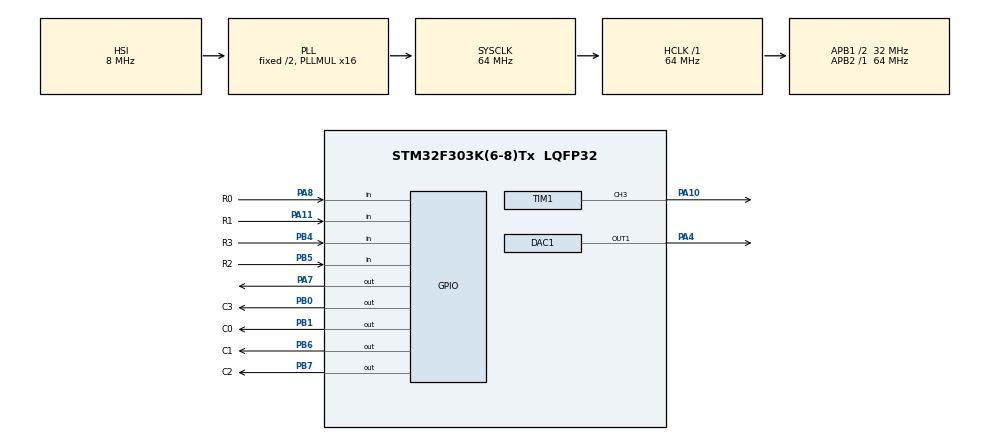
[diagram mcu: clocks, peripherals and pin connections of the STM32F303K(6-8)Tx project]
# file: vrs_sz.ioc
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DAC1.DAC_Trigger=DAC_TRIGGER_T3_TRGO
Dma.DAC1_CH1.1.Direction=DMA_MEMORY_TO_PERIPH
Dma.DAC1_CH1.1.Instance=DMA1_Channel3
Dma.DAC1_CH1.1.MemDataAlignment=DMA_MDATAALIGN_BYTE
Dma.DAC1_CH1.1.MemInc=DMA_MINC_ENABLE
Dma.DAC1_CH1.1.Mode=DMA_CIRCULAR
Dma.DAC1_CH1.1.PeriphDataAlignment=DMA_PDATAALIGN_BYTE
Dma.DAC1_CH1.1.PeriphInc=DMA_PINC_DISABLE
Dma.DAC1_CH1.1.Priority=DMA_PRIORITY_VERY_HIGH
Dma.Request0=TIM1_CH3
Dma.Request1=DAC1_CH1
Dma.TIM1_CH3.0.Direction=DMA_MEMORY_TO_PERIPH
Dma.TIM1_CH3.0.Instance=DMA1_Channel6
Dma.TIM1_CH3.0.MemDataAlignment=DMA_MDATAALIGN_HALFWORD
Dma.TIM1_CH3.0.MemInc=DMA_MINC_ENABLE
Dma.TIM1_CH3.0.Mode=DMA_NORMAL
Dma.TIM1_CH3.0.PeriphDataAlignment=DMA_PDATAALIGN_HALFWORD
Dma.TIM1_CH3.0.PeriphInc=DMA_PINC_DISABLE
Dma.TIM1_CH3.0.Priority=DMA_PRIORITY_LOW
Mcu.Family=STM32F3
Mcu.Name=STM32F303K(6-8)Tx
Mcu.Package=LQFP32
NVIC.DMA1_Channel3_IRQn=true\:0\:0\:false\:false\:true\:false\:true\:true
NVIC.DMA1_Channel6_IRQn=true\:0\:0\:false\:false\:true\:false\:true\:true
NVIC.PriorityGroup=NVIC_PRIORITYGROUP_4
NVIC.TIM3_IRQn=true\:0\:0\:false\:false\:true\:true\:true\:true
PA10.Signal=S_TIM1_CH3
PA11.GPIO_Label=R1
PA11.GPIO_PuPd=GPIO_PULLDOWN
PA11.Signal=GPIO_Input
PA4.Signal=COMP_DAC11_group
PA7.Signal=GPIO_Output
PA8.GPIO_Label=R0
PA8.GPIO_PuPd=GPIO_PULLDOWN
PA8.Signal=GPIO_Input
PB0.GPIO_Label=C3
PB0.GPIO_PuPd=GPIO_NOPULL
PB0.Signal=GPIO_Output
PB1.GPIO_Label=C0
PB1.GPIO_PuPd=GPIO_NOPULL
PB1.Signal=GPIO_Output
PB4.GPIO_Label=R3
PB4.GPIO_PuPd=GPIO_PULLDOWN
PB4.Signal=GPIO_Input
PB5.GPIO_Label=R2
PB5.GPIO_PuPd=GPIO_PULLDOWN
PB5.Signal=GPIO_Input
PB6.GPIO_Label=C1
PB6.Signal=GPIO_Output
PB7.GPIO_Label=C2
PB7.Signal=GPIO_Output
ProjectManager.HeapSize=0x200
ProjectManager.StackSize=0x400
ProjectManager.TargetToolchain=STM32CubeIDE
RCC.AHBFreq_Value=64000000
RCC.APB1CLKDivider=RCC_HCLK_DIV2
RCC.APB1Freq_Value=32000000
RCC.APB1TimFreq_Value=64000000
RCC.APB2Freq_Value=64000000
RCC.APB2TimFreq_Value=64000000
RCC.CortexFreq_Value=64000000
RCC.HCLKFreq_Value=64000000
RCC.HSE_VALUE=8000000
RCC.HSI_VALUE=8000000
RCC.PLLMUL=RCC_PLL_MUL16
RCC.SYSCLKFreq_VALUE=64000000
RCC.SYSCLKSourceVirtual=RCC_SYSCLKSOURCE_PLLCLK
SH.COMP_DAC11_group.0=DAC1_OUT1,DAC_OUT1
SH.S_TIM1_CH3.0=TIM1_CH3,PWM Generation3 CH3
TIM1.Channel-PWM\ Generation3\ CH3=TIM_CHANNEL_3
TIM1.Period=80-1
TIM1.Pulse-PWM\ Generation3\ CH3=1
TIM3.ClockDivision=TIM_CLOCKDIVISION_DIV4
TIM3.Period=250-1
TIM3.Prescaler=32-1
TIM3.TIM_MasterOutputTrigger=TIM_TRGO_UPDATE
VP_TIM1_VS_ClockSourceINT.Mode=Internal
VP_TIM3_VS_ClockSourceINT.Mode=Internal
board=custom

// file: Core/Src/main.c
/* USER CODE BEGIN Header */
/**
  ******************************************************************************
  * @file           : main.c
  * @brief          : Main program body
  ******************************************************************************
  * @attention
  *
  * Copyright (c) 2022 STMicroelectronics.
  * All rights reserved.
  *
  * This software is licensed under terms that can be found in the LICENSE file
  * in the root directory of this software component.
  * If no LICENSE file comes with this software, it is provided AS-IS.
  *
  ******************************************************************************
  */
/* USER CODE END Header */
#include "main.h"
#include "dac.h"
#include "dma.h"
#include "tim.h"
#include "gpio.h"

/* USER CODE BEGIN Includes */
#include "keyboard.h"
#include "ledlight.h"
#include "colors.h"
#include "musiclightdriver.h"
#include "tone.h"
#include "notes.h"
#include "time.h"
/* USER CODE END Includes */

/* USER CODE BEGIN PV */
uint8_t pressedKey;
uint8_t flagKeyboard;
uint8_t keyboardStatus[16] = {0};
uint8_t keyboardStatus_old[16] = {0};
uint8_t octave = 3;

Color ledLight[NUMBER_OF_LEDS] = {0};
uint8_t tones[] = {NONE,NONE,NONE,NONE};
double freqs[] = {0,0,0,0};
/* USER CODE END PV */

void SystemClock_Config(void);
/* USER CODE BEGIN PFP */
uint8_t didChange() {
	int flag = 0;
	for (int i = 0; i<16;i++) {
		if (keyboardStatus[i]!=keyboardStatus_old[i]) {
			flag = 1;
			keyboardStatus_old[i]=keyboardStatus[i];
		}
	}
	if (flag)
		return 1;
	else
		return 0;
}

uint8_t isPressed(uint8_t startIndex, uint8_t endIndex) {
	for (uint8_t i=startIndex; i<endIndex; i++) {
		if (keyboardStatus[i]) {
			return 1;
		}
	}
	return 0;
}

void resetTonesAndFreqs(uint8_t index) {
	tones[index] = NONE;
	freqs[index] = 0;
}

void playLowerOctave() {
	for (uint8_t i=1; i<8; i++) {
		if (keyboardStatus[i]) {
			tones[0] =SQUARE;
			freqs[0] = notes3[i-1];
			setMainToneColor(ledLight, mainColors[7-i]);
			setBeatColor(ledLight, mainColors[i-1]);
			setBackingTrackColor(ledLight, mainColors[i]);
		}
	}
}

void playUpperOctave(uint8_t octave) {
	switch (octave) {
		case 4:
			for (uint8_t i=8; i<16; i++) {
				if (keyboardStatus[i]) {
					tones[1] = SINE;
					freqs[1] = notes4[i-8];
					setMainToneColor(ledLight, mainColors[i-8]);
					setBeatColor(ledLight, mainColors[i]);
					setBackingTrackColor(ledLight, mainColors[8-i]);
				}
			}
			break;
		case 5:
			for (uint8_t i=8; i<16; i++) {
				if (keyboardStatus[i]) {
					tones[1] = SINE;
					freqs[1] = notes5[i-8];
					setMainToneColor(ledLight, mainColors[i-8]);
					setBeatColor(ledLight, mainColors[i]);
					setBackingTrackColor(ledLight, mainColors[8-i]);
				}
			}
			break;
	}
}

uint8_t processOctave(uint8_t octave) {
	uint8_t lowerOctave = isPressed(1, 8);
	uint8_t upperOctave = isPressed(8, 16);
	uint8_t pressed = lowerOctave + upperOctave;

	if (lowerOctave) {
		playLowerOctave();
	} else {
		resetTonesAndFreqs(0);
	}

	if (upperOctave) {
		playUpperOctave(octave);
	} else {
		resetTonesAndFreqs(1);
	}

	return pressed;
}

void setOctave(uint8_t octave) {
	uint8_t pressed = processOctave(octave);

	if (pressed == 0) {
		setMainToneColor(ledLight, OFF);
		setBeatColor(ledLight, OFF);
		setBackingTrackColor(ledLight, OFF);
	}
	sendLedData(ledLight);
	updateMultipleTone(tones, freqs);
}
/* USER CODE END PFP */

int main(void)
{

  /* MCU Configuration--------------------------------------------------------*/

  /* Reset of all peripherals, Initializes the Flash interface and the Systick. */
  HAL_Init();

  /* Configure the system clock */
  SystemClock_Config();

  /* Initialize all configured peripherals */
  MX_GPIO_Init();
  MX_DMA_Init();
  MX_TIM1_Init();
  MX_DAC1_Init();
  MX_TIM3_Init();
  /* USER CODE BEGIN 2 */

  //initialLedReset(ledLight);
  //setBrightness(45);

  //
  srand((unsigned) time(NULL));
  initToneSystem();
  /* USER CODE END 2 */

  /* Infinite loop */
  /* USER CODE BEGIN WHILE */
  while (1)
  {
	KB_Detect_KeyPress();

    if (didChange()) {
		if (keyboardStatus[0]) {
			octave = 5;
			setOctave(octave);

		} else {
			octave = 4;
			setOctave(octave);
		}
    }
    /* USER CODE END WHILE */

  }
}

void SystemClock_Config(void)
{
  RCC_OscInitTypeDef RCC_OscInitStruct = {0};
  RCC_ClkInitTypeDef RCC_ClkInitStruct = {0};
  RCC_PeriphCLKInitTypeDef PeriphClkInit = {0};

  /** Initializes the RCC Oscillators according to the specified parameters
  * in the RCC_OscInitTypeDef structure.
  */
  RCC_OscInitStruct.OscillatorType = RCC_OSCILLATORTYPE_HSI;
  RCC_OscInitStruct.HSIState = RCC_HSI_ON;
  RCC_OscInitStruct.HSICalibrationValue = RCC_HSICALIBRATION_DEFAULT;
  RCC_OscInitStruct.PLL.PLLState = RCC_PLL_ON;
  RCC_OscInitStruct.PLL.PLLSource = RCC_PLLSOURCE_HSI;
  RCC_OscInitStruct.PLL.PLLMUL = RCC_PLL_MUL16;
  if (HAL_RCC_OscConfig(&RCC_OscInitStruct) != HAL_OK)
  {
    Error_Handler();
  }

  /** Initializes the CPU, AHB and APB buses clocks
  */
  RCC_ClkInitStruct.ClockType = RCC_CLOCKTYPE_HCLK|RCC_CLOCKTYPE_SYSCLK
                              |RCC_CLOCKTYPE_PCLK1|RCC_CLOCKTYPE_PCLK2;
  RCC_ClkInitStruct.SYSCLKSource = RCC_SYSCLKSOURCE_PLLCLK;
  RCC_ClkInitStruct.AHBCLKDivider = RCC_SYSCLK_DIV1;
  RCC_ClkInitStruct.APB1CLKDivider = RCC_HCLK_DIV2;
  RCC_ClkInitStruct.APB2CLKDivider = RCC_HCLK_DIV1;

  if (HAL_RCC_ClockConfig(&RCC_ClkInitStruct, FLASH_LATENCY_2) != HAL_OK)
  {
    Error_Handler();
  }
  PeriphClkInit.PeriphClockSelection = RCC_PERIPHCLK_TIM1;
  PeriphClkInit.Tim1ClockSelection = RCC_TIM1CLK_HCLK;
  if (HAL_RCCEx_PeriphCLKConfig(&PeriphClkInit) != HAL_OK)
  {
    Error_Handler();
  }
}

void Error_Handler(void)
{
  __disable_irq();
  while (1)
  {
  }
}
